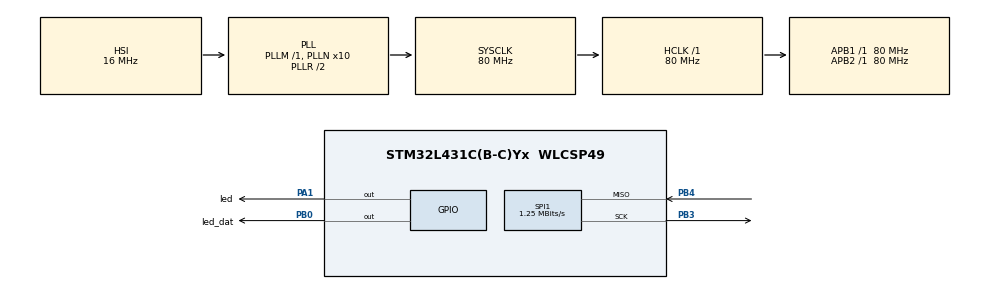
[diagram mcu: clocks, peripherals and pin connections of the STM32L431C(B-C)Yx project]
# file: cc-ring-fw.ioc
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ADC1.Channel-3\#ChannelRegularConversion=ADC_CHANNEL_VBAT
ADC1.NbrOfConversionFlag=1
ADC1.OffsetNumber-3\#ChannelRegularConversion=ADC_OFFSET_NONE
ADC1.Rank-3\#ChannelRegularConversion=1
ADC1.SamplingTime-3\#ChannelRegularConversion=ADC_SAMPLETIME_2CYCLES_5
ADC1.master=1
Dma.Request0=SPI1_RX
Dma.SPI1_RX.0.Direction=DMA_PERIPH_TO_MEMORY
Dma.SPI1_RX.0.Instance=DMA1_Channel2
Dma.SPI1_RX.0.MemDataAlignment=DMA_MDATAALIGN_BYTE
Dma.SPI1_RX.0.MemInc=DMA_MINC_ENABLE
Dma.SPI1_RX.0.Mode=DMA_CIRCULAR
Dma.SPI1_RX.0.PeriphDataAlignment=DMA_PDATAALIGN_BYTE
Dma.SPI1_RX.0.PeriphInc=DMA_PINC_DISABLE
Dma.SPI1_RX.0.Priority=DMA_PRIORITY_LOW
Mcu.Family=STM32L4
Mcu.Name=STM32L431C(B-C)Yx
Mcu.Package=WLCSP49
NVIC.DMA1_Channel2_IRQn=true\:0\:0\:false\:false\:true\:false\:true\:true
NVIC.PriorityGroup=NVIC_PRIORITYGROUP_4
NVIC.SPI1_IRQn=true\:0\:0\:false\:false\:true\:true\:true\:true
PA1.GPIO_Label=led
PA1.GPIO_ModeDefaultOutputPP=GPIO_MODE_OUTPUT_OD
PA1.GPIO_PuPd=GPIO_PULLUP
PA1.Signal=GPIO_Output
PA13\ (JTMS-SWDIO).Mode=Serial_Wire
PA13\ (JTMS-SWDIO).Signal=SYS_JTMS-SWDIO
PA14\ (JTCK-SWCLK).Mode=Serial_Wire
PA14\ (JTCK-SWCLK).Signal=SYS_JTCK-SWCLK
PB0.GPIO_Label=led_dat
PB0.Signal=GPIO_Output
PB3\ (JTDO-TRACESWO).Mode=RX_Only_Simplex_Unidirect_Master
PB3\ (JTDO-TRACESWO).Signal=SPI1_SCK
PB4\ (NJTRST).Mode=RX_Only_Simplex_Unidirect_Master
PB4\ (NJTRST).Signal=SPI1_MISO
ProjectManager.HeapSize=0x200
ProjectManager.StackSize=0x400
ProjectManager.TargetToolchain=Makefile
RCC.ADCFreq_Value=64000000
RCC.AHBFreq_Value=80000000
RCC.APB1Freq_Value=80000000
RCC.APB1TimFreq_Value=80000000
RCC.APB2Freq_Value=80000000
RCC.APB2TimFreq_Value=80000000
RCC.CortexFreq_Value=80000000
RCC.HCLKFreq_Value=80000000
RCC.HSE_VALUE=8000000
RCC.HSI48_VALUE=48000000
RCC.HSI_VALUE=16000000
RCC.LSE_VALUE=32768
RCC.MSI_VALUE=4000000
RCC.PLLN=10
RCC.PLLSourceVirtual=RCC_PLLSOURCE_HSI
RCC.SYSCLKFreq_VALUE=80000000
RCC.SYSCLKSource=RCC_SYSCLKSOURCE_PLLCLK
RCC.VCOOutputFreq_Value=160000000
SPI1.BaudRatePrescaler=SPI_BAUDRATEPRESCALER_64
SPI1.CLKPhase=SPI_PHASE_2EDGE
SPI1.CLKPolarity=SPI_POLARITY_HIGH
SPI1.CalculateBaudRate=1.25 MBits/s
SPI1.DataSize=SPI_DATASIZE_8BIT
SPI1.Direction=SPI_DIRECTION_2LINES_RXONLY
SPI1.Mode=SPI_MODE_MASTER
SPI1.VirtualType=VM_MASTER
VP_ADC1_Vbat_Input.Mode=IN-Vbat
board=custom

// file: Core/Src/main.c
/* USER CODE BEGIN Header */
/**
  ******************************************************************************
  * @file           : main.c
  * @brief          : Main program body
  ******************************************************************************
  * @attention
  *
  * Copyright (c) 2024 STMicroelectronics.
  * All rights reserved.
  *
  * This software is licensed under terms that can be found in the LICENSE file
  * in the root directory of this software component.
  * If no LICENSE file comes with this software, it is provided AS-IS.
  *
  ******************************************************************************
  */
/* USER CODE END Header */
#include "main.h"
#include "adc.h"
#include "dma.h"
#include "spi.h"
#include "gpio.h"

/* USER CODE BEGIN Includes */

#include <DFT32.h>
#include <embeddednf.h>
#include <embeddedout.h>
#include <DFT32.h>
#include "ws2812.h"
#include "pdm.h"
/* USER CODE END Includes */

void SystemClock_Config(void);

/* USER CODE BEGIN 0 */

//Circular buffer for incoming data so we don't spend much time servicing the interrupt and we can handle colorchord in the main thread.
#define CIRCBUFSIZE 256
volatile int last_samp_pos;
int16_t sampbuff[CIRCBUFSIZE];
volatile int samples;

//This gets called by the ADC/Microphone
void GotSample( int16_t samp )
{
	sampbuff[last_samp_pos] = samp;
	last_samp_pos = ((last_samp_pos+1)%CIRCBUFSIZE);
	samples++;
}

//Call this once we've stacked together one full colorchord frame.
void NewFrame()
{
	HandleFrameInfo();

	UpdateLinearLEDs();
	// UpdateAllSameLEDs();

	SendWS2812(ledOut);
}

/* USER CODE END 0 */

int main(void)
{

  /* MCU Configuration--------------------------------------------------------*/

  /* Reset of all peripherals, Initializes the Flash interface and the Systick. */
  HAL_Init();

  /* Configure the system clock */
  SystemClock_Config();

  /* Initialize all configured peripherals */
  MX_GPIO_Init();
  MX_DMA_Init();
  MX_ADC1_Init();
  MX_SPI1_Init();
  /* USER CODE BEGIN 2 */
  InitWS2812();

  pdm_start();
  // startup time for PDM mic
  HAL_Delay(25);

  InitColorChord();

  uint32_t wf = 0;
  uint32_t this_samp = 0;
  /* USER CODE END 2 */

  /* Infinite loop */
  /* USER CODE BEGIN WHILE */
  while (1)
  {
    if(this_samp != last_samp_pos) {
      PushSample32(sampbuff[this_samp]);
      this_samp = (this_samp + 1) % CIRCBUFSIZE;

      wf++;
      if(wf == 128) {
        NewFrame();
        wf = 0;
      }
    }
    /* USER CODE END WHILE */

  }
}

void SystemClock_Config(void)
{
  RCC_OscInitTypeDef RCC_OscInitStruct = {0};
  RCC_ClkInitTypeDef RCC_ClkInitStruct = {0};

  /** Configure the main internal regulator output voltage
  */
  if (HAL_PWREx_ControlVoltageScaling(PWR_REGULATOR_VOLTAGE_SCALE1) != HAL_OK)
  {
    Error_Handler();
  }

  /** Initializes the RCC Oscillators according to the specified parameters
  * in the RCC_OscInitTypeDef structure.
  */
  RCC_OscInitStruct.OscillatorType = RCC_OSCILLATORTYPE_HSI;
  RCC_OscInitStruct.HSIState = RCC_HSI_ON;
  RCC_OscInitStruct.HSICalibrationValue = RCC_HSICALIBRATION_DEFAULT;
  RCC_OscInitStruct.PLL.PLLState = RCC_PLL_ON;
  RCC_OscInitStruct.PLL.PLLSource = RCC_PLLSOURCE_HSI;
  RCC_OscInitStruct.PLL.PLLM = 1;
  RCC_OscInitStruct.PLL.PLLN = 10;
  RCC_OscInitStruct.PLL.PLLP = RCC_PLLP_DIV7;
  RCC_OscInitStruct.PLL.PLLQ = RCC_PLLQ_DIV2;
  RCC_OscInitStruct.PLL.PLLR = RCC_PLLR_DIV2;
  if (HAL_RCC_OscConfig(&RCC_OscInitStruct) != HAL_OK)
  {
    Error_Handler();
  }

  /** Initializes the CPU, AHB and APB buses clocks
  */
  RCC_ClkInitStruct.ClockType = RCC_CLOCKTYPE_HCLK|RCC_CLOCKTYPE_SYSCLK
                              |RCC_CLOCKTYPE_PCLK1|RCC_CLOCKTYPE_PCLK2;
  RCC_ClkInitStruct.SYSCLKSource = RCC_SYSCLKSOURCE_PLLCLK;
  RCC_ClkInitStruct.AHBCLKDivider = RCC_SYSCLK_DIV1;
  RCC_ClkInitStruct.APB1CLKDivider = RCC_HCLK_DIV1;
  RCC_ClkInitStruct.APB2CLKDivider = RCC_HCLK_DIV1;

  if (HAL_RCC_ClockConfig(&RCC_ClkInitStruct, FLASH_LATENCY_4) != HAL_OK)
  {
    Error_Handler();
  }
}

void Error_Handler(void)
{
  __disable_irq();
  while (1)
  {
  }
}
